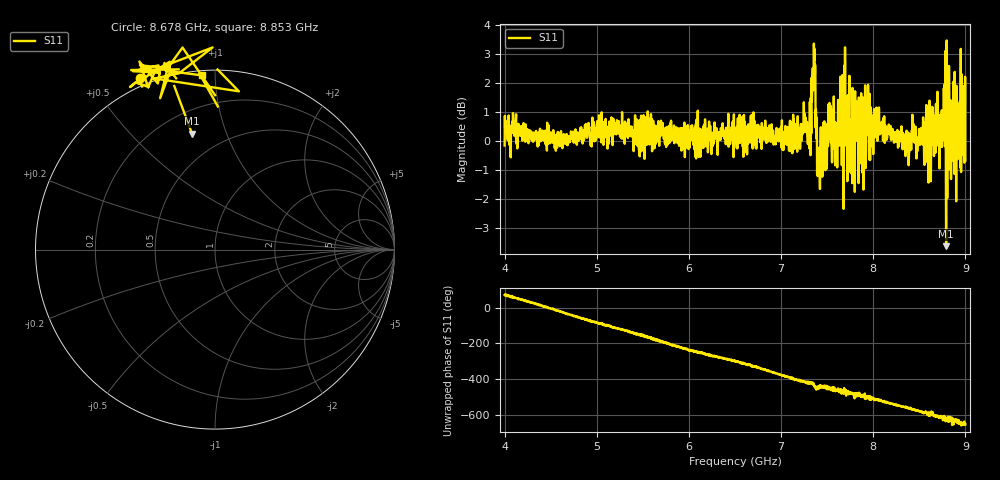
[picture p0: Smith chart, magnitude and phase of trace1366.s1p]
! Created with skrf 1.8.0 (http://scikit-rf.org).
# Hz S RI R 50.0
!freq ReS11 ImS11
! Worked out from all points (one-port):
!   1601 points, 4 GHz to 9 GHz, reference 50 ohm
!   lowest |S11| = -3.6 dB at 8.791 GHz (marker M1), VSWR 4.87, Z = 16.7 + j38.2 ohm
!   |S11| at or under -10 dB: nowhere
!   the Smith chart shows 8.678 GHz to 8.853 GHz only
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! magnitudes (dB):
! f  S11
! 4 GHz  -0.2
! 4.1 GHz  0.3
! 4.625 GHz  -0.2
! 5.25 GHz  0.5
! 5.875 GHz  0.1
! 6.5 GHz  0.3
! 7.125 GHz  0.4
! 7.303 GHz  0.2
! 7.347 GHz  1.7
! 7.362 GHz  3.2
! 7.4 GHz  -0.8
! 7.416 GHz  -0.9
! 7.512 GHz  1.3
! 7.609 GHz  -0.9
! 7.65 GHz  0.6
! 7.75 GHz  0.2
! 7.769 GHz  -0.1
! 7.828 GHz  1.2
! 7.875 GHz  0.1
! 7.928 GHz  1.3
! 7.981 GHz  0.5
! 8.05 GHz  0.5
! 8.375 GHz  -0.1
! 8.791 GHz  -3.6
! 8.819 GHz  0.0
! 8.919 GHz  -0.1
! 8.972 GHz  0.3
! 9 GHz  -0.7
